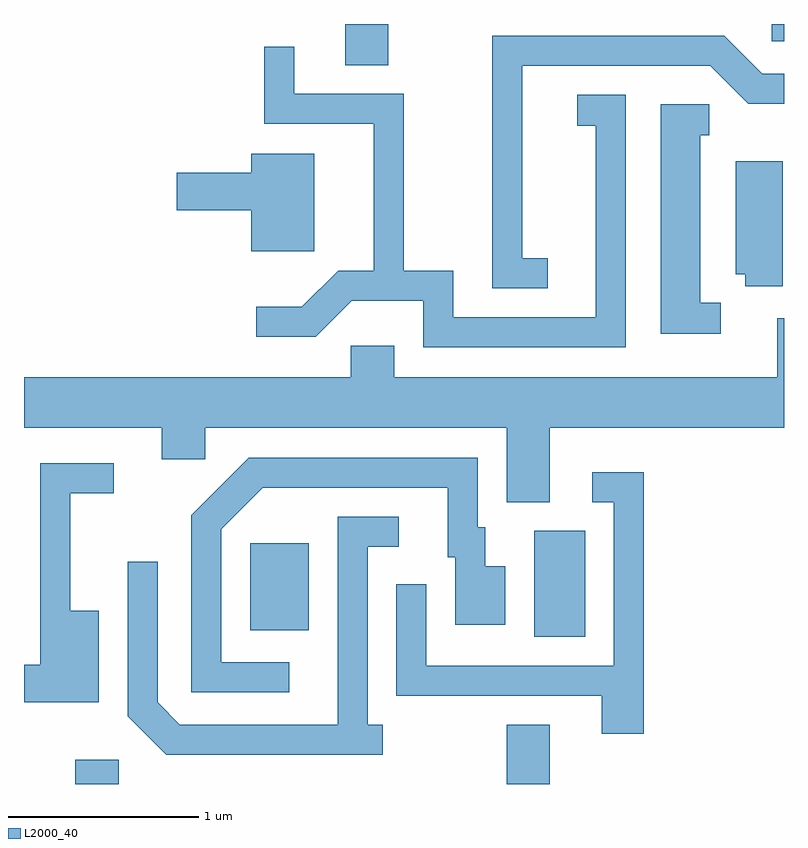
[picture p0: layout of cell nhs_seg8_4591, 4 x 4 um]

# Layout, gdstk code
import gdstk
lib = gdstk.Library(unit=1e-6, precision=1e-09)
def R(c, l, rs):  # rectangles x0, y0, x1, y1
    for r in rs: c.add(gdstk.rectangle(r[:2], r[2:], *l))
def P(c, l, *ps):  # polygons
    for p in ps: c.add(gdstk.Polygon(p, *l))
L2000_40 = (2000, 40)

nhs_seg8_4591 = lib.new_cell('nhs_seg8_4591')
R(nhs_seg8_4591, L2000_40, [(323.881,1812.342,324.109,1812.469), (326.151,1812.342,326.379,1812.654), (326.296,1813.116,326.564,1813.674), (324.801,1813.151,325.109,1813.609), (325.301,1816.126,325.529,1816.342), (327.546,1816.251,327.611,1816.342)])
P(nhs_seg8_4591, L2000_40, [(326.368,1815.109),(326.234,1815.109),(326.234,1816.121),(327.224,1816.121),(327.424,1815.921),(327.611,1815.921),(327.611,1816.079),(327.497,1816.079),(327.297,1816.279),(326.076,1816.279),(326.076,1814.951),(326.368,1814.951)],
  [(326.779,1815.969),(326.523,1815.969),(326.523,1815.806),(326.621,1815.806),(326.621,1814.799),(325.869,1814.799),(325.869,1815.044),(325.609,1815.044),(325.609,1815.974),(325.034,1815.974),(325.034,1816.223),(324.876,1816.223),(324.876,1815.816),(325.451,1815.816),(325.451,1815.044),(325.264,1815.044),(325.074,1814.854),(324.833,1814.854),(324.833,1814.696),(325.147,1814.696),(325.337,1814.886),(325.711,1814.886),(325.711,1814.641),(326.779,1814.641)],
  [(327.278,1814.874),(327.169,1814.874),(327.169,1815.756),(327.218,1815.756),(327.218,1815.919),(326.961,1815.919),(326.961,1814.711),(327.278,1814.711)],
  [(325.139,1815.659),(324.806,1815.659),(324.806,1815.559),(324.416,1815.559),(324.416,1815.361),(324.806,1815.361),(324.806,1815.146),(325.139,1815.146)],
  [(327.604,1815.619),(327.356,1815.619),(327.356,1815.026),(327.406,1815.026),(327.406,1814.961),(327.604,1814.961)],
  [(326.379,1814.216),(327.611,1814.216),(327.611,1814.794),(327.576,1814.794),(327.576,1814.484),(325.559,1814.484),(325.559,1814.649),(325.331,1814.649),(325.331,1814.484),(323.611,1814.484),(323.611,1814.216),(324.336,1814.216),(324.336,1814.051),(324.564,1814.051),(324.564,1814.216),(326.151,1814.216),(326.151,1813.826),(326.379,1813.826)],
  [(325.008,1812.984),(324.649,1812.984),(324.649,1813.684),(324.867,1813.901),(325.841,1813.901),(325.841,1813.536),(325.881,1813.536),(325.881,1813.181),(326.144,1813.181),(326.144,1813.489),(326.039,1813.489),(326.039,1813.694),(325.999,1813.694),(325.999,1814.059),(324.794,1814.059),(324.491,1813.757),(324.491,1812.826),(325.008,1812.826)],
  [(324.004,1813.254),(323.854,1813.254),(323.854,1813.871),(324.083,1813.871),(324.083,1814.029),(323.696,1814.029),(323.696,1812.969),(323.611,1812.969),(323.611,1812.771),(324.004,1812.771)],
  [(326.874,1813.984),(326.603,1813.984),(326.603,1813.826),(326.716,1813.826),(326.716,1812.964),(325.729,1812.964),(325.729,1813.393),(325.571,1813.393),(325.571,1812.806),(326.651,1812.806),(326.651,1812.606),(326.874,1812.606)],
  [(325.498,1812.654),(325.419,1812.654),(325.419,1813.591),(325.583,1813.591),(325.583,1813.749),(325.261,1813.749),(325.261,1812.654),(324.432,1812.654),(324.314,1812.772),(324.314,1813.513),(324.156,1813.513),(324.156,1812.699),(324.359,1812.496),(325.498,1812.496)])

lib.write_gds('nhs_seg8_4591.gds')
